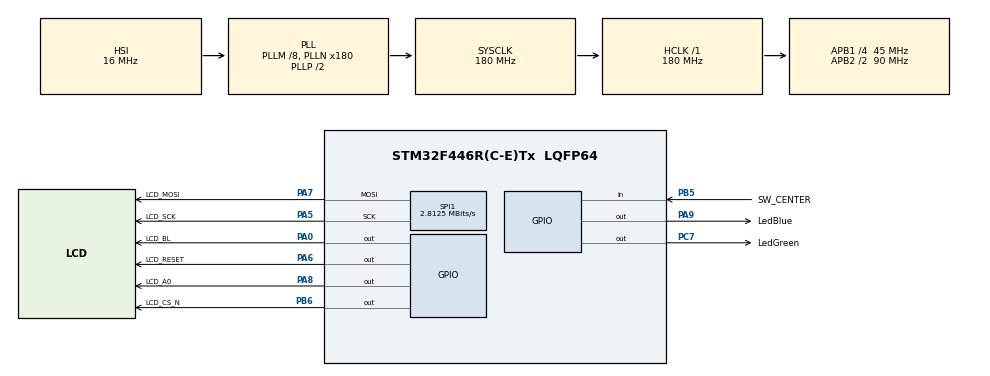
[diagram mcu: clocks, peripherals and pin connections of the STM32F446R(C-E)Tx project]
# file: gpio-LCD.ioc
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Mcu.Family=STM32F4
Mcu.Name=STM32F446R(C-E)Tx
Mcu.Package=LQFP64
NVIC.PriorityGroup=NVIC_PRIORITYGROUP_4
PA0-WKUP.GPIO_Label=LCD_BL
PA0-WKUP.Signal=GPIO_Output
PA13.Mode=Serial_Wire
PA13.Signal=SYS_JTMS-SWDIO
PA14.Mode=Serial_Wire
PA14.Signal=SYS_JTCK-SWCLK
PA5.GPIO_Label=LCD_SCK
PA5.Mode=TX_Only_Simplex_Unidirect_Master
PA5.Signal=SPI1_SCK
PA6.GPIO_Label=LCD_RESET
PA6.Signal=GPIO_Output
PA7.GPIO_Label=LCD_MOSI
PA7.Mode=TX_Only_Simplex_Unidirect_Master
PA7.Signal=SPI1_MOSI
PA8.GPIO_Label=LCD_A0
PA8.Signal=GPIO_Output
PA9.GPIO_Label=LedBlue
PA9.GPIO_Speed=GPIO_SPEED_FREQ_HIGH
PA9.PinState=GPIO_PIN_RESET
PA9.Signal=GPIO_Output
PB5.GPIO_Label=SW_CENTER
PB5.Signal=GPIO_Input
PB6.GPIO_Label=LCD_CS_N
PB6.Signal=GPIO_Output
PC7.GPIO_Label=LedGreen
PC7.Signal=GPIO_Output
PH0-OSC_IN.Mode=HSE-External-Oscillator
PH0-OSC_IN.Signal=RCC_OSC_IN
PH1-OSC_OUT.Mode=HSE-External-Oscillator
PH1-OSC_OUT.Signal=RCC_OSC_OUT
ProjectManager.HeapSize=0x200
ProjectManager.StackSize=0x400
ProjectManager.TargetToolchain=MDK-ARM V5
RCC.AHBFreq_Value=180000000
RCC.APB1CLKDivider=RCC_HCLK_DIV4
RCC.APB1Freq_Value=45000000
RCC.APB1TimFreq_Value=90000000
RCC.APB2CLKDivider=RCC_HCLK_DIV2
RCC.APB2Freq_Value=90000000
RCC.APB2TimFreq_Value=180000000
RCC.CortexFreq_Value=180000000
RCC.HCLKFreq_Value=180000000
RCC.PLLM=8
RCC.PLLN=180
RCC.SYSCLKFreq_VALUE=180000000
RCC.SYSCLKSource=RCC_SYSCLKSOURCE_PLLCLK
RCC.USBFreq_Value=180000000
RCC.VCOOutputFreq_Value=360000000
SPI1.BaudRatePrescaler=SPI_BAUDRATEPRESCALER_32
SPI1.CalculateBaudRate=2.8125 MBits/s
SPI1.Direction=SPI_DIRECTION_2LINES
SPI1.Mode=SPI_MODE_MASTER
SPI1.VirtualType=VM_MASTER
board=custom

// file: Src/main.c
/**
  ******************************************************************************
  * @file           : main.c
  * @brief          : Main program body
  ******************************************************************************
  ** This notice applies to any and all portions of this file
  * that are not between comment pairs USER CODE BEGIN and
  * USER CODE END. Other portions of this file, whether
  * inserted by the user or by software development tools
  * are owned by their respective copyright owners.
  *
  * COPYRIGHT(c) 2018 STMicroelectronics
  *
  * Redistribution and use in source and binary forms, with or without modification,
  * are permitted provided that the following conditions are met:
  *   1. Redistributions of source code must retain the above copyright notice,
  *      this list of conditions and the following disclaimer.
  *   2. Redistributions in binary form must reproduce the above copyright notice,
  *      this list of conditions and the following disclaimer in the documentation
  *      and/or other materials provided with the distribution.
  *   3. Neither the name of STMicroelectronics nor the names of its contributors
  *      may be used to endorse or promote products derived from this software
  *      without specific prior written permission.
  *
  * THIS SOFTWARE IS PROVIDED BY THE COPYRIGHT HOLDERS AND CONTRIBUTORS "AS IS"
  * AND ANY EXPRESS OR IMPLIED WARRANTIES, INCLUDING, BUT NOT LIMITED TO, THE
  * IMPLIED WARRANTIES OF MERCHANTABILITY AND FITNESS FOR A PARTICULAR PURPOSE ARE
  * DISCLAIMED. IN NO EVENT SHALL THE COPYRIGHT HOLDER OR CONTRIBUTORS BE LIABLE
  * FOR ANY DIRECT, INDIRECT, INCIDENTAL, SPECIAL, EXEMPLARY, OR CONSEQUENTIAL
  * DAMAGES (INCLUDING, BUT NOT LIMITED TO, PROCUREMENT OF SUBSTITUTE GOODS OR
  * SERVICES; LOSS OF USE, DATA, OR PROFITS; OR BUSINESS INTERRUPTION) HOWEVER
  * CAUSED AND ON ANY THEORY OF LIABILITY, WHETHER IN CONTRACT, STRICT LIABILITY,
  * OR TORT (INCLUDING NEGLIGENCE OR OTHERWISE) ARISING IN ANY WAY OUT OF THE USE
  * OF THIS SOFTWARE, EVEN IF ADVISED OF THE POSSIBILITY OF SUCH DAMAGE.
  *
  ******************************************************************************
  */
#include "main.h"
#include "stm32f4xx_hal.h"
#include "spi.h"
#include "gpio.h"

/* USER CODE BEGIN Includes */
#include "lcd_driver.h"
/* USER CODE END Includes */

/* USER CODE BEGIN PV */
/* Private variables ---------------------------------------------------------*/

/* USER CODE END PV */

void SystemClock_Config(void);

/* USER CODE BEGIN PFP */
/* Private function prototypes -----------------------------------------------*/

/* USER CODE END PFP */

int main(void)
{
	/* USER CODE BEGIN 1 */
  static uint32_t last_event=0;
	static uint32_t new_event=0;
	static uint32_t start=0;
	static uint32_t start_time;
	static uint32_t end_time;
	static uint32_t diff_time;
	char inf[10]=" ";
	/* USER CODE END 1 */
	 /* MCU Configuration----------------------------------------------------------*/
	/* Reset of all peripherals, Initializes the Flash interface and the Systick. */
	HAL_Init();
	/* Configure the system clock */
  SystemClock_Config();
	/* Initialize all configured peripherals */
  MX_GPIO_Init();
  MX_SPI1_Init();
	/* USER CODE BEGIN 2 */
	HAL_GPIO_WritePin(LedGreen_GPIO_Port,LedGreen_Pin,GPIO_PIN_RESET);
	HAL_GPIO_WritePin(LedBlue_GPIO_Port,LedBlue_Pin,GPIO_PIN_SET);
	lcd_init ();
	lcd_clear();
	lcd_setLine(127,0,127,31,1);
	lcd_setLine(0,0,0,31,1);
	lcd_setString(2,6,"PROGRAM STARTED",0,false);
	lcd_show();
  /* USER CODE END 2 */
	/* Infinite loop */
  while (1)
  {
		/* USER CODE BEGIN 3 */
	 if(HAL_GPIO_ReadPin(SW_CENTER_GPIO_Port,SW_CENTER_Pin)== GPIO_PIN_SET){  new_event=1;}
	 else { new_event=0;}
	 if ((last_event != new_event) && (last_event==1)){
			if(start==1) {
				end_time=HAL_GetTick();
				diff_time=end_time-start_time;
				lcd_clear();
				sprintf(inf,"%d",diff_time);
				lcd_setString(2,6,"     ms",0,false);
				lcd_setString(2,6,inf,0,false);
				lcd_show();
				HAL_GPIO_WritePin(LedBlue_GPIO_Port,LedBlue_Pin,GPIO_PIN_SET);
			  HAL_GPIO_WritePin(LedGreen_GPIO_Port,LedGreen_Pin,GPIO_PIN_RESET);
				start=0;
			}
			else {
			start = 1;
			lcd_clear();
			lcd_setString(2,6,"Start measurement \n",0,false);
			lcd_show();
      HAL_GPIO_WritePin(LedGreen_GPIO_Port,LedGreen_Pin,GPIO_PIN_SET);
	    HAL_GPIO_WritePin(LedBlue_GPIO_Port,LedBlue_Pin,GPIO_PIN_RESET);
			start_time= HAL_GetTick();
			}
	 }
	 last_event=new_event;
 }
/* USER CODE END 3 */
}

void SystemClock_Config(void)
{

  RCC_OscInitTypeDef RCC_OscInitStruct;
  RCC_ClkInitTypeDef RCC_ClkInitStruct;

    /**Configure the main internal regulator output voltage
    */
  __HAL_RCC_PWR_CLK_ENABLE();

  __HAL_PWR_VOLTAGESCALING_CONFIG(PWR_REGULATOR_VOLTAGE_SCALE1);

    /**Initializes the CPU, AHB and APB busses clocks
    */
  RCC_OscInitStruct.OscillatorType = RCC_OSCILLATORTYPE_HSI;
  RCC_OscInitStruct.HSIState = RCC_HSI_ON;
  RCC_OscInitStruct.HSICalibrationValue = 16;
  RCC_OscInitStruct.PLL.PLLState = RCC_PLL_ON;
  RCC_OscInitStruct.PLL.PLLSource = RCC_PLLSOURCE_HSI;
  RCC_OscInitStruct.PLL.PLLM = 8;
  RCC_OscInitStruct.PLL.PLLN = 180;
  RCC_OscInitStruct.PLL.PLLP = RCC_PLLP_DIV2;
  RCC_OscInitStruct.PLL.PLLQ = 2;
  RCC_OscInitStruct.PLL.PLLR = 2;
  if (HAL_RCC_OscConfig(&RCC_OscInitStruct) != HAL_OK)
  {
    _Error_Handler(__FILE__, __LINE__);
  }

    /**Activate the Over-Drive mode
    */
  if (HAL_PWREx_EnableOverDrive() != HAL_OK)
  {
    _Error_Handler(__FILE__, __LINE__);
  }

    /**Initializes the CPU, AHB and APB busses clocks
    */
  RCC_ClkInitStruct.ClockType = RCC_CLOCKTYPE_HCLK|RCC_CLOCKTYPE_SYSCLK
                              |RCC_CLOCKTYPE_PCLK1|RCC_CLOCKTYPE_PCLK2;
  RCC_ClkInitStruct.SYSCLKSource = RCC_SYSCLKSOURCE_PLLCLK;
  RCC_ClkInitStruct.AHBCLKDivider = RCC_SYSCLK_DIV1;
  RCC_ClkInitStruct.APB1CLKDivider = RCC_HCLK_DIV4;
  RCC_ClkInitStruct.APB2CLKDivider = RCC_HCLK_DIV2;

  if (HAL_RCC_ClockConfig(&RCC_ClkInitStruct, FLASH_LATENCY_5) != HAL_OK)
  {
    _Error_Handler(__FILE__, __LINE__);
  }

    /**Configure the Systick interrupt time
    */
  HAL_SYSTICK_Config(HAL_RCC_GetHCLKFreq()/1000);

    /**Configure the Systick
    */
  HAL_SYSTICK_CLKSourceConfig(SYSTICK_CLKSOURCE_HCLK);

  /* SysTick_IRQn interrupt configuration */
  HAL_NVIC_SetPriority(SysTick_IRQn, 0, 0);
}

void _Error_Handler(char *file, int line)
{
  while(1)
  {
  }
}

/************************ (C) COPYRIGHT STMicroelectronics *****END OF FILE****/
